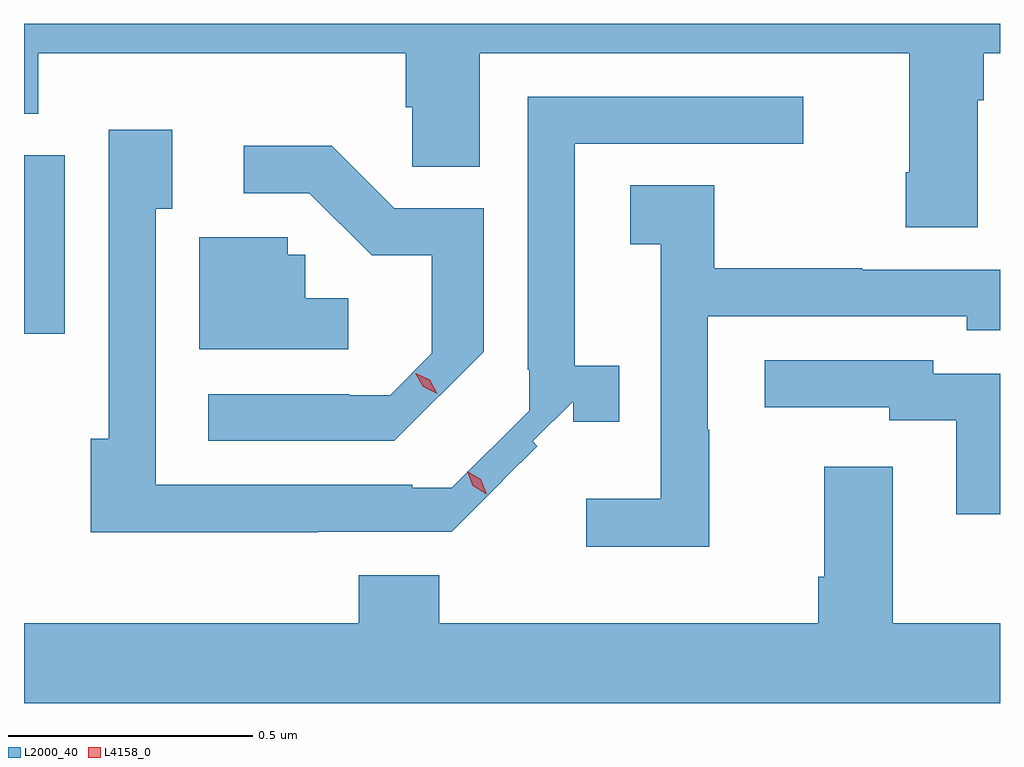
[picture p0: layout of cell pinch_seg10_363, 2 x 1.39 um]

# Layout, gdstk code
import gdstk
lib = gdstk.Library(unit=1e-6, precision=1e-09)
def R(c, l, rs):  # rectangles x0, y0, x1, y1
    for r in rs: c.add(gdstk.rectangle(r[:2], r[2:], *l))
def P(c, l, *ps):  # polygons
    for p in ps: c.add(gdstk.Polygon(p, *l))
L2000_40 = (2000, 40)
L4158_0 = (4158, 0)

pinch_seg10_363 = lib.new_cell('pinch_seg10_363')
R(pinch_seg10_363, L2000_40, [(397.581,1255.785,397.665,1256.151)])
P(pinch_seg10_363, L2000_40, [(397.581,1256.236),(397.61,1256.236),(397.61,1256.36),(398.363,1256.36),(398.363,1256.25),(398.377,1256.25),(398.377,1256.128),(398.515,1256.128),(398.515,1256.36),(399.395,1256.36),(399.395,1256.116),(399.388,1256.116),(399.388,1256.004),(399.535,1256.004),(399.535,1256.264),(399.548,1256.264),(399.548,1256.36),(399.581,1256.36),(399.581,1256.421),(397.581,1256.421)],
  [(398.183,1255.38),(398.458,1255.38),(398.562,1255.484),(398.562,1255.485),(398.633,1255.555),(398.624,1255.565),(398.706,1255.647),(398.706,1255.605),(398.801,1255.605),(398.801,1255.72),(398.71,1255.72),(398.71,1256.175),(399.178,1256.175),(399.178,1256.271),(398.613,1256.271),(398.613,1255.712),(398.616,1255.712),(398.616,1255.628),(398.458,1255.47),(398.377,1255.47),(398.377,1255.476),(397.851,1255.476),(397.851,1256.042),(397.885,1256.042),(397.885,1256.203),(397.755,1256.203),(397.755,1255.57),(397.718,1255.57),(397.718,1255.379),(398.183,1255.379)],
  [(398.523,1255.749),(398.523,1256.043),(398.34,1256.043),(398.212,1256.171),(398.031,1256.171),(398.031,1256.073),(398.166,1256.073),(398.294,1255.946),(398.417,1255.946),(398.417,1255.745),(398.331,1255.659),(398.248,1255.659),(398.248,1255.662),(397.959,1255.662),(397.959,1255.566),(398.34,1255.566)],
  [(398.985,1255.589),(398.982,1255.589),(398.982,1255.821),(399.513,1255.821),(399.513,1255.793),(399.581,1255.793),(399.581,1255.917),(399.299,1255.917),(399.299,1255.92),(398.995,1255.92),(398.995,1256.09),(398.823,1256.09),(398.823,1255.969),(398.886,1255.969),(398.886,1255.447),(398.733,1255.447),(398.733,1255.349),(398.985,1255.349)],
  [(398.245,1255.858),(398.157,1255.858),(398.157,1255.947),(398.121,1255.947),(398.121,1255.983),(397.94,1255.983),(397.94,1255.754),(398.245,1255.754)],
  [(399.581,1255.704),(399.444,1255.704),(399.444,1255.731),(399.099,1255.731),(399.099,1255.635),(399.354,1255.635),(399.354,1255.608),(399.491,1255.608),(399.491,1255.416),(399.581,1255.416)],
  [(399.581,1255.192),(399.361,1255.192),(399.361,1255.513),(399.221,1255.513),(399.221,1255.288),(399.209,1255.288),(399.209,1255.192),(398.432,1255.192),(398.432,1255.291),(398.267,1255.291),(398.267,1255.192),(397.581,1255.192),(397.581,1255.028),(399.581,1255.028)])
P(pinch_seg10_363, L4158_0, [(398.529,1255.457),(398.501,1255.474),(398.489,1255.504),(398.489,1255.504),(398.489,1255.504),(398.517,1255.487),(398.529,1255.457),(398.529,1255.457)],
  [(398.428,1255.663),(398.399,1255.677),(398.383,1255.705),(398.383,1255.705),(398.384,1255.705),(398.412,1255.691),(398.428,1255.663),(398.428,1255.663)])

lib.write_gds('pinch_seg10_363.gds')
